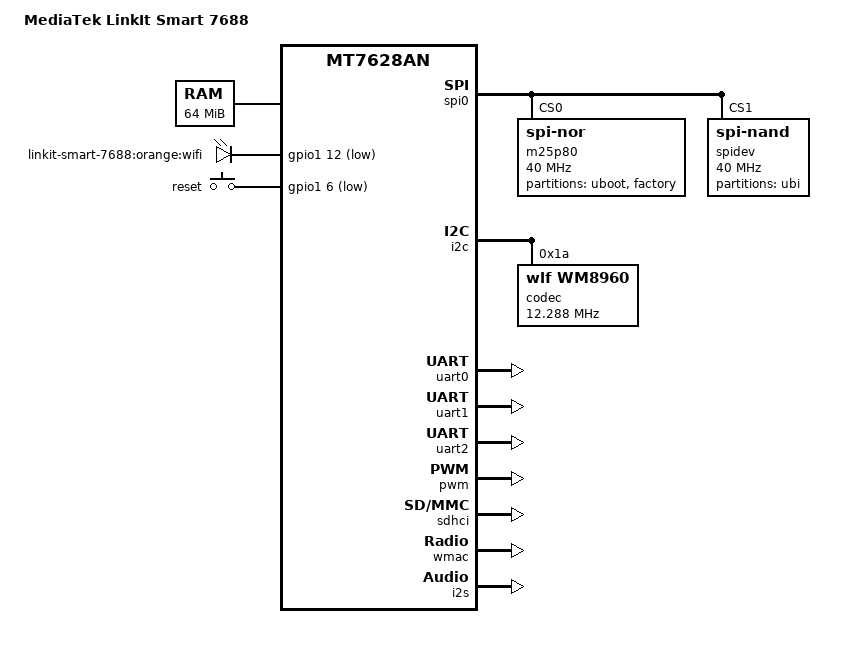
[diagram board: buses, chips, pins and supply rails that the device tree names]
/dts-v1/;

#include "mt7628an.dtsi"

#include <dt-bindings/gpio/gpio.h>
#include <dt-bindings/input/input.h>

/ {
	compatible = "mediatek,linkit-smart-7688", "mediatek,mt7628an-soc";
	model = "MediaTek LinkIt Smart 7688";

	chosen {
		bootargs = "console=ttyS2,115200";
	};

	aliases {
		serial0 = &uart2;
	};

	memory@0 {
		device_type = "memory";
		reg = <0x0 0x4000000>;
	};

	bootstrap {
		compatible = "mediatek,linkit";

		status = "okay";
	};

	gpio-leds {
		compatible = "gpio-leds";

		wifi {
			label = "linkit-smart-7688:orange:wifi";
			gpios = <&gpio1 12 GPIO_ACTIVE_LOW>;
		};
	};

	gpio-keys-polled {
		compatible = "gpio-keys-polled";
		#address-cells = <1>;
		#size-cells = <0>;
		poll-interval = <20>;

		wps {
			label = "reset";
			gpios = <&gpio1 6 GPIO_ACTIVE_LOW>;
			linux,code = <KEY_WPS_BUTTON>;
		};
	};

        sound {
                compatible = "simple-audio-card";
                status = "okay";
                simple-audio-card,format = "i2s";
                simple-audio-card,name = "Audio-I2S";
                simple-audio-card,bitclock-slave = <&dailink0_slave>;
                simple-audio-card,frame-slave = <&dailink0_slave>;
                simple-audio-card,widgets =
                        "Microphone", "Mic Jack",
                        "Line", "Line In",
                        "Line", "Line Out",
                        "Speaker", "Speaker",
                        "Headphone", "Headphone Jack";
                simple-audio-card,routing =
                        "Headphone Jack", "HP_L",
                        "Headphone Jack", "HP_R",
                        "Speaker", "SPK_LP",
                        "Speaker", "SPK_LN",
                        "LINPUT1", "Mic Jack",
                        "LINPUT3", "Mic Jack",
                        "RINPUT1", "Mic Jack",
                        "RINPUT2", "Mic Jack";

                simple-audio-card,mclk-fs = <256>;

                simple-audio-card,cpu {
                      sound-dai = <&i2s>;
                };

                dailink0_slave: simple-audio-card,codec {
                        sound-dai = <&codec>;
                };

                wm8960_mclk: wm8960_mclk {
                        compatible = "fixed-clock";
                        #clock-cells = <0>;
                };

         };
};

&pinctrl {
	state_default: pinctrl0 {
		gpio {
			ralink,group = "gpio";
			ralink,function = "gpio";
		};

		spis {
			ralink,group = "spis";
			ralink,function = "gpio";
		};

		wled_an {
			ralink,group = "wled_an";
			ralink,function = "gpio";
		};

		wdt {
			ralink,group = "wdt";
			ralink,function = "gpio";
		};

           };

           i2s_pins: i2s {
                i2s {
                        ralink,group = "i2s";
                        ralink,function = "i2s";
                };
           };
};

&spi0 {
	status = "okay";

	pinctrl-names = "default";
	pinctrl-0 = <&spi_pins>, <&spi_cs1_pins>;

	m25p80@0 {
		#address-cells = <1>;
		#size-cells = <1>;
		compatible = "jedec,spi-nor";
		reg = <0>;
		spi-max-frequency = <40000000>;
		m25p,chunked-io = <31>;

		uboot: partition@0 {
			label = "uboot";
			reg = <0x0 0xf0000>;
		};
		factory: partition@f0000 {
			label = "factory";
			reg = <0xf0000 0x10000>;
			read-only;
		};
	};

	spidev@1 {
		#address-cells = <1>;
		#size-cells = <1>;
		compatible = "spi-nand";
		reg = <1>;
		spi-max-frequency = <40000000>;

		partitions {
			compatible = "fixed-partitions";
			#address-cells = <1>;
			#size-cells = <1>;
		
			ubi: partition@0 {
				label = "ubi";
				reg = <0x0 0x8000000>;
			};
		};
	};
};


&i2c {
	status = "okay";
        codec: wm8960@1a {
                #sound-dai-cells = <0>;
                compatible = "wlf,wm8960";
                reg = <0x1a>;
                clocks = <&wm8960_mclk>;
                clock-names = "mclk";
                clock-frequency = <12288000>;

                wlf,shared-lrclk;
        };
};

&uart0 {
	clock-frequency = <25000000>;
	status = "okay";
};

&uart1 {
	clock-frequency = <25000000>;
	status = "okay";
};

&uart2 {
	clock-frequency = <25000000>;
	status = "okay";
};

&pwm {
	status = "okay";
};

&ethernet {
	mtd-mac-address = <&factory 0x28>;
};

&sdhci {
	status = "okay";
	mediatek,cd-high;
};

&wmac {
	status = "okay";
};

&esw {
	mediatek,portmap = <0x3>;
	mediatek,portdisable = <0x3c>;
};


&i2s {
	#sound-dai-cells = <0>;
	status = "okay";
};

&gdma {
	status = "okay";
};
